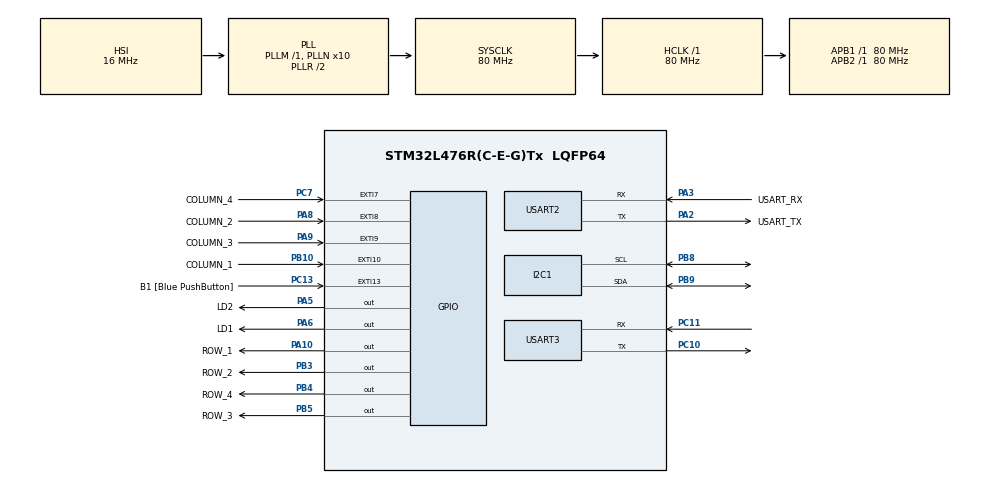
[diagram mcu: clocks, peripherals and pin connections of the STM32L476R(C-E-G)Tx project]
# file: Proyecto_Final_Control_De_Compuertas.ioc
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I2C1.Timing=0x10D19CE4
Mcu.Family=STM32L4
Mcu.Name=STM32L476R(C-E-G)Tx
Mcu.Package=LQFP64
NVIC.EXTI15_10_IRQn=true\:0\:0\:false\:false\:true\:true\:true\:true
NVIC.EXTI9_5_IRQn=true\:0\:0\:false\:false\:true\:true\:true\:true
NVIC.PriorityGroup=NVIC_PRIORITYGROUP_4
NVIC.USART2_IRQn=true\:0\:0\:false\:false\:true\:true\:true\:true
NVIC.USART3_IRQn=true\:0\:0\:false\:false\:true\:true\:true\:true
PA10.GPIO_Label=ROW_1
PA10.GPIO_ModeDefaultOutputPP=GPIO_MODE_OUTPUT_OD
PA10.GPIO_PuPd=GPIO_NOPULL
PA10.GPIO_Speed=GPIO_SPEED_FREQ_VERY_HIGH
PA10.PinState=GPIO_PIN_RESET
PA10.Signal=GPIO_Output
PA13\ (JTMS-SWDIO).GPIO_Label=TMS
PA13\ (JTMS-SWDIO).Mode=Serial_Wire
PA13\ (JTMS-SWDIO).Signal=SYS_JTMS-SWDIO
PA14\ (JTCK-SWCLK).GPIO_Label=TCK
PA14\ (JTCK-SWCLK).Mode=Serial_Wire
PA14\ (JTCK-SWCLK).Signal=SYS_JTCK-SWCLK
PA2.GPIO_Label=USART_TX
PA2.GPIO_Mode=GPIO_MODE_AF_PP
PA2.GPIO_PuPd=GPIO_NOPULL
PA2.GPIO_Speed=GPIO_SPEED_FREQ_VERY_HIGH
PA2.Mode=Asynchronous
PA2.Signal=USART2_TX
PA3.GPIO_Label=USART_RX
PA3.GPIO_Mode=GPIO_MODE_AF_PP
PA3.GPIO_PuPd=GPIO_NOPULL
PA3.GPIO_Speed=GPIO_SPEED_FREQ_VERY_HIGH
PA3.Mode=Asynchronous
PA3.Signal=USART2_RX
PA5.GPIO_Label=LD2
PA5.GPIO_ModeDefaultOutputPP=GPIO_MODE_OUTPUT_PP
PA5.GPIO_PuPd=GPIO_NOPULL
PA5.GPIO_Speed=GPIO_SPEED_FREQ_LOW
PA5.Signal=GPIO_Output
PA6.GPIO_Label=LD1
PA6.Signal=GPIO_Output
PA8.GPIO_Label=COLUMN_2
PA8.GPIO_ModeDefaultEXTI=GPIO_MODE_IT_FALLING
PA8.GPIO_PuPd=GPIO_PULLUP
PA8.Signal=GPXTI8
PA9.GPIO_Label=COLUMN_3
PA9.GPIO_ModeDefaultEXTI=GPIO_MODE_IT_FALLING
PA9.GPIO_PuPd=GPIO_PULLUP
PA9.Signal=GPXTI9
PB10.GPIO_Label=COLUMN_1
PB10.GPIO_ModeDefaultEXTI=GPIO_MODE_IT_FALLING
PB10.GPIO_PuPd=GPIO_PULLUP
PB10.Signal=GPXTI10
PB3\ (JTDO-TRACESWO).GPIO_Label=ROW_2
PB3\ (JTDO-TRACESWO).GPIO_ModeDefaultOutputPP=GPIO_MODE_OUTPUT_OD
PB3\ (JTDO-TRACESWO).GPIO_PuPd=GPIO_NOPULL
PB3\ (JTDO-TRACESWO).GPIO_Speed=GPIO_SPEED_FREQ_VERY_HIGH
PB3\ (JTDO-TRACESWO).PinState=GPIO_PIN_RESET
PB3\ (JTDO-TRACESWO).Signal=GPIO_Output
PB4\ (NJTRST).GPIO_Label=ROW_4
PB4\ (NJTRST).GPIO_ModeDefaultOutputPP=GPIO_MODE_OUTPUT_OD
PB4\ (NJTRST).GPIO_PuPd=GPIO_NOPULL
PB4\ (NJTRST).GPIO_Speed=GPIO_SPEED_FREQ_VERY_HIGH
PB4\ (NJTRST).PinState=GPIO_PIN_RESET
PB4\ (NJTRST).Signal=GPIO_Output
PB5.GPIO_Label=ROW_3
PB5.GPIO_ModeDefaultOutputPP=GPIO_MODE_OUTPUT_OD
PB5.GPIO_PuPd=GPIO_NOPULL
PB5.GPIO_Speed=GPIO_SPEED_FREQ_VERY_HIGH
PB5.PinState=GPIO_PIN_RESET
PB5.Signal=GPIO_Output
PB8.Mode=I2C
PB8.Signal=I2C1_SCL
PB9.Mode=I2C
PB9.Signal=I2C1_SDA
PC10.Mode=Asynchronous
PC10.Signal=USART3_TX
PC11.Mode=Asynchronous
PC11.Signal=USART3_RX
PC13.GPIO_Label=B1 [Blue PushButton]
PC13.GPIO_ModeDefaultEXTI=GPIO_MODE_IT_FALLING
PC13.GPIO_PuPd=GPIO_NOPULL
PC13.Signal=GPXTI13
PC14-OSC32_IN\ (PC14).Mode=LSE-External-Oscillator
PC14-OSC32_IN\ (PC14).Signal=RCC_OSC32_IN
PC15-OSC32_OUT\ (PC15).Mode=LSE-External-Oscillator
PC15-OSC32_OUT\ (PC15).Signal=RCC_OSC32_OUT
PC7.GPIO_Label=COLUMN_4
PC7.GPIO_ModeDefaultEXTI=GPIO_MODE_IT_FALLING
PC7.GPIO_PuPd=GPIO_PULLUP
PC7.Signal=GPXTI7
PH0-OSC_IN\ (PH0).Signal=RCC_OSC_IN
PH1-OSC_OUT\ (PH1).Signal=RCC_OSC_OUT
ProjectManager.HeapSize=0x200
ProjectManager.StackSize=0x400
ProjectManager.TargetToolchain=CMake
RCC.ADCFreq_Value=64000000
RCC.AHBFreq_Value=80000000
RCC.APB1Freq_Value=80000000
RCC.APB1TimFreq_Value=80000000
RCC.APB2Freq_Value=80000000
RCC.APB2TimFreq_Value=80000000
RCC.CortexFreq_Value=80000000
RCC.HCLKFreq_Value=80000000
RCC.HSE_VALUE=8000000
RCC.HSI_VALUE=16000000
RCC.MSI_VALUE=4000000
RCC.PLLN=10
RCC.PLLSourceVirtual=RCC_PLLSOURCE_HSI
RCC.PREFETCH_ENABLE=1
RCC.SYSCLKFreq_VALUE=80000000
RCC.SYSCLKSource=RCC_SYSCLKSOURCE_PLLCLK
RCC.USBFreq_Value=64000000
RCC.VCOOutputFreq_Value=160000000
USART2.VirtualMode-Asynchronous=VM_ASYNC
USART3.VirtualMode-Asynchronous=VM_ASYNC
board=NUCLEO-L476RG

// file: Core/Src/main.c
/* USER CODE BEGIN Header */
/**
  ******************************************************************************
  * @file           : main.c
  * @brief          : Main program body
  ******************************************************************************
  * @attention
  *
  * Copyright (c) 2025 STMicroelectronics.
  * All rights reserved.
  *
  * This software is licensed under terms that can be found in the LICENSE file
  * in the root directory of this software component.
  * If no LICENSE file comes with this software, it is provided AS-IS.
  *
  ******************************************************************************
  */
/* USER CODE END Header */
#include "main.h"

/* USER CODE BEGIN Includes */
#include <stdio.h>
#include <string.h>
#include <stdbool.h>
#include "keypad.h"
#include "ssd1306.h"
#include "ssd1306_fonts.h"
#include "ring_buffer.h"
#include "button.h"
#include "prints_display.h"
#include "command.h"
#include "display_main.h"
#include "state_machine.h"

/* USER CODE END Includes */

I2C_HandleTypeDef hi2c1;

UART_HandleTypeDef huart2;
UART_HandleTypeDef huart3;

/* USER CODE BEGIN PV */
ring_buffer_t rb_matrix;
ring_buffer_t rb_pc;
ring_buffer_t rb_internet;

uint8_t buffer_matrix[5];  // Buffer de tamaño 10 para almacenar el comando completo
uint8_t buffer_pc[5];
uint8_t buffer_internet[5];

uint32_t key_pressed_tick = 0;
uint16_t column_pressed = 0;
uint8_t b1_press_count = 0;

uint32_t debounce_tick = 0;
bool control_uart2 = false;
bool control_uart3 = false;
uint8_t key;

extern char state[3];
char state[3] = "Cl";

extern volatile uint32_t door_open_time; // Almacena el tiempo en el que se abrió la puerta temporalmente
extern volatile uint8_t temp_open;       // Flag para saber si la puerta está temporalmente abierta

/* USER CODE END PV */

void SystemClock_Config(void);
static void MX_GPIO_Init(void);
static void MX_USART2_UART_Init(void);
static void MX_USART3_UART_Init(void);
static void MX_I2C1_Init(void);

/* USER CODE BEGIN 0 */

int system_events_handler(char *event)
{
  if (strcmp(event, "Op") == 0) {
    return 2;
  }
  else if (strcmp(event, "To") == 0) {
    return 1;
  }
  else if (strcmp(event, "Cl") == 0) {
    return 0;
  }
  return -1; // Return a default value if no condition is met
}

void low_power_sleep_mode(void) {
  HAL_SuspendTick(); // Detener el SysTick para reducir consumo
  HAL_PWR_EnterSLEEPMode(PWR_MAINREGULATOR_ON, PWR_SLEEPENTRY_WFI);
  HAL_ResumeTick(); // Restaurar el SysTick después de salir del Sleep Mode
}

void HAL_GPIO_EXTI_Callback(uint16_t GPIO_Pin) {
  if (GPIO_Pin == B1_Pin) { // Botón
      int press_type = detect_button_press();

      if (press_type == 1) { // Un solo clic
          if (strcmp(state, "Cl") == 0) {
              strcpy(state, "Op");
              HAL_UART_Transmit(&huart2, (uint8_t *)"Puerta Abierta\r\n", 16, 100);
              HAL_GPIO_WritePin(LD2_GPIO_Port, LD2_Pin, GPIO_PIN_SET);
              ssd1306_Fill(Black);
              show_opened();
          } else {
              strcpy(state, "Cl");
              HAL_UART_Transmit(&huart2, (uint8_t *)"Puerta Cerrada\r\n", 16, 100);
              HAL_GPIO_WritePin(LD2_GPIO_Port, LD2_Pin, GPIO_PIN_RESET);
              ssd1306_Fill(Black);
              show_closed();
          }
      } else if (press_type == 2) { // Doble clic
          if (strcmp(state, "To") == 0) {
            return;
          }
          strcpy(state, "To"); // Temporalmente abierta
          HAL_UART_Transmit(&huart2, (uint8_t *)"Puerta Abierta Temporalmente\r\n", 30, 100);
          HAL_GPIO_WritePin(LD2_GPIO_Port, LD2_Pin, GPIO_PIN_SET);
          ssd1306_Fill(Black);
          show_opened();

          // Iniciar temporizador en el loop principal
          initialize_temp();
      }
  }
  else { // Keypad
      column_pressed = GPIO_Pin;
  }
}

void check_door_timeout() {
  if (temp_open && (HAL_GetTick() - door_open_time >= 3000)) { // Espera 3 segundos
      strcpy(state, "Cl");
      HAL_UART_Transmit(&huart2, (uint8_t *)"Puerta Cerrada\r\n", 16, 100);
      HAL_GPIO_WritePin(LD2_GPIO_Port, LD2_Pin, GPIO_PIN_RESET);
      ssd1306_Fill(Black);
      show_closed();
      temp_open = 0; // Reiniciar flag
  }
}

void HAL_UART_RxCpltCallback(UART_HandleTypeDef *huart)
{
  if (huart->Instance == USART2) {
    // HAL_UART_Transmit(&huart3, huart->pRxBuffPtr, huart->RxXferSize, 1000);
    control_uart2 = true;
  }
  else if (huart->Instance == USART3) {
    // HAL_UART_Transmit(&huart2, huart->pRxBuffPtr, huart->RxXferSize, 1000);
    control_uart3 = true;

  }
}

/**
 * @brief  Heartbeat function to blink LED2 every 1 second to indicate the system is running
*/

void heartbeat(void)
{
  static uint32_t last_heartbeat = 0;
  if (HAL_GetTick() - last_heartbeat > 1000)
  {
    last_heartbeat = HAL_GetTick();
    HAL_GPIO_TogglePin(LD1_GPIO_Port, LD1_Pin);
  }
}

int _write(int file, char *ptr, int len)
{
  (void)file;
  HAL_UART_Transmit(&huart2, (uint8_t *)ptr, len, 10);
  HAL_UART_Transmit(&huart3, (uint8_t *)ptr, len, 10);

  return len;
}

/* USER CODE END 0 */

int main(void)
{

  /* MCU Configuration--------------------------------------------------------*/

  /* Reset of all peripherals, Initializes the Flash interface and the Systick. */
  HAL_Init();

  /* Configure the system clock */
  SystemClock_Config();

  /* Initialize all configured peripherals */
  MX_GPIO_Init();
  MX_USART2_UART_Init();
  MX_USART3_UART_Init();
  MX_I2C1_Init();
  /* USER CODE BEGIN 2 */
  setvbuf(stdout, NULL, _IONBF, 0);  // Desactiva el buffer de stdout
  ssd1306_Init();
  ssd1306_Fill(Black);
  ssd1306_UpdateScreen();

  for (unsigned int i = 0; i < sizeof(buffer_matrix); i++) {
    buffer_matrix[i] = '_';
  }

  keypad_init();  // Inicializa el teclado matricial
  HAL_UART_Receive_IT(&huart2, buffer_pc , 5);
  HAL_UART_Receive_IT(&huart3, buffer_internet , 5);

  ring_buffer_init(&rb_matrix, buffer_matrix, 5);  // Inicializa el ring buffer
  ring_buffer_init(&rb_pc, buffer_pc, 5);
  ring_buffer_init(&rb_internet, buffer_internet, 5);
  HAL_UART_Transmit(&huart2, (uint8_t *)"Hello World\r\n", 13, 100);  // Envía el mensaje "Hello World"
  HAL_UART_Transmit_IT(&huart3, (uint8_t *)"Hello World\r\n", 13);  // Envía el mensaje "Hello World"
  ssd1306_WriteString("Door default: Cl", Font_7x10, White);
  ssd1306_UpdateScreen();
  HAL_Delay(1000);
  ssd1306_Fill(Black);
  show_closed();
  /* USER CODE END 2 */

  /* Infinite loop */
  /* USER CODE BEGIN WHILE */
  while (1)
  {
    heartbeat();
    check_door_timeout();
    /* USER CODE END WHILE */

    /* USER CODE BEGIN 3 */
    // Procesa teclas del teclado matricial
    if (column_pressed != 0 && (key_pressed_tick + 5) < HAL_GetTick()) {
      key = keypad_scan(column_pressed);
      column_pressed = 0;
      if (key != 'E') {
          ring_buffer_write(&rb_matrix, key);
          uint8_t size = ring_buffer_size(&rb_matrix);
          printf("Key: %c, Buffer: %s, Size: %d\r\n", key, buffer_matrix, size);
          process_command(&rb_matrix, buffer_matrix, state);
          //system_state_machine(state);

      }
    }

    // Procesa teclas recibidas desde la PC
    if(control_uart2)
    {
      control_uart2 = false;
      ring_buffer_write(&rb_pc, buffer_pc[0]);
      ring_buffer_write(&rb_pc, buffer_pc[1]);
      ring_buffer_write(&rb_pc, buffer_pc[2]);
      ring_buffer_write(&rb_pc, buffer_pc[3]);
      ring_buffer_write(&rb_pc, buffer_pc[4]);
      uint8_t size = ring_buffer_size(&rb_pc);
      printf("Terminal Buffer: %s, Size: %d\r\n",buffer_pc, size);
      process_command(&rb_pc, buffer_pc, state);
      //system_state_machine(state);

    }
    if(control_uart3)
    {
      control_uart3 = false;
      ring_buffer_write(&rb_internet, buffer_internet[0]);
      ring_buffer_write(&rb_internet, buffer_internet[1]);
      ring_buffer_write(&rb_internet, buffer_internet[2]);
      ring_buffer_write(&rb_internet, buffer_internet[3]);
      ring_buffer_write(&rb_internet, buffer_internet[4]);
      uint8_t size = ring_buffer_size(&rb_internet);
      printf("\nInternet Buffer: %s, Size: %d\r\n",buffer_internet, size);
      process_command(&rb_internet, buffer_internet, state);
      //system_state_machine(state);

    }
    system_state_machine(state);
    HAL_UART_Receive_IT(&huart2, buffer_pc , 5);
    HAL_UART_Receive_IT(&huart3, buffer_internet , 5);
    HAL_Delay(100);
  }
  /* USER CODE END 3 */
}

void SystemClock_Config(void)
{
  RCC_OscInitTypeDef RCC_OscInitStruct = {0};
  RCC_ClkInitTypeDef RCC_ClkInitStruct = {0};

  /** Configure the main internal regulator output voltage
  */
  if (HAL_PWREx_ControlVoltageScaling(PWR_REGULATOR_VOLTAGE_SCALE1) != HAL_OK)
  {
    Error_Handler();
  }

  /** Initializes the RCC Oscillators according to the specified parameters
  * in the RCC_OscInitTypeDef structure.
  */
  RCC_OscInitStruct.OscillatorType = RCC_OSCILLATORTYPE_HSI;
  RCC_OscInitStruct.HSIState = RCC_HSI_ON;
  RCC_OscInitStruct.HSICalibrationValue = RCC_HSICALIBRATION_DEFAULT;
  RCC_OscInitStruct.PLL.PLLState = RCC_PLL_ON;
  RCC_OscInitStruct.PLL.PLLSource = RCC_PLLSOURCE_HSI;
  RCC_OscInitStruct.PLL.PLLM = 1;
  RCC_OscInitStruct.PLL.PLLN = 10;
  RCC_OscInitStruct.PLL.PLLP = RCC_PLLP_DIV7;
  RCC_OscInitStruct.PLL.PLLQ = RCC_PLLQ_DIV2;
  RCC_OscInitStruct.PLL.PLLR = RCC_PLLR_DIV2;
  if (HAL_RCC_OscConfig(&RCC_OscInitStruct) != HAL_OK)
  {
    Error_Handler();
  }

  /** Initializes the CPU, AHB and APB buses clocks
  */
  RCC_ClkInitStruct.ClockType = RCC_CLOCKTYPE_HCLK|RCC_CLOCKTYPE_SYSCLK
                              |RCC_CLOCKTYPE_PCLK1|RCC_CLOCKTYPE_PCLK2;
  RCC_ClkInitStruct.SYSCLKSource = RCC_SYSCLKSOURCE_PLLCLK;
  RCC_ClkInitStruct.AHBCLKDivider = RCC_SYSCLK_DIV1;
  RCC_ClkInitStruct.APB1CLKDivider = RCC_HCLK_DIV1;
  RCC_ClkInitStruct.APB2CLKDivider = RCC_HCLK_DIV1;

  if (HAL_RCC_ClockConfig(&RCC_ClkInitStruct, FLASH_LATENCY_4) != HAL_OK)
  {
    Error_Handler();
  }
}

static void MX_I2C1_Init(void)
{

  hi2c1.Instance = I2C1;
  hi2c1.Init.Timing = 0x10D19CE4;
  hi2c1.Init.OwnAddress1 = 0;
  hi2c1.Init.AddressingMode = I2C_ADDRESSINGMODE_7BIT;
  hi2c1.Init.DualAddressMode = I2C_DUALADDRESS_DISABLE;
  hi2c1.Init.OwnAddress2 = 0;
  hi2c1.Init.OwnAddress2Masks = I2C_OA2_NOMASK;
  hi2c1.Init.GeneralCallMode = I2C_GENERALCALL_DISABLE;
  hi2c1.Init.NoStretchMode = I2C_NOSTRETCH_DISABLE;
  if (HAL_I2C_Init(&hi2c1) != HAL_OK)
  {
    Error_Handler();
  }

  /** Configure Analogue filter
  */
  if (HAL_I2CEx_ConfigAnalogFilter(&hi2c1, I2C_ANALOGFILTER_ENABLE) != HAL_OK)
  {
    Error_Handler();
  }

  /** Configure Digital filter
  */
  if (HAL_I2CEx_ConfigDigitalFilter(&hi2c1, 0) != HAL_OK)
  {
    Error_Handler();
  }

}

static void MX_USART2_UART_Init(void)
{

  huart2.Instance = USART2;
  huart2.Init.BaudRate = 115200;
  huart2.Init.WordLength = UART_WORDLENGTH_8B;
  huart2.Init.StopBits = UART_STOPBITS_1;
  huart2.Init.Parity = UART_PARITY_NONE;
  huart2.Init.Mode = UART_MODE_TX_RX;
  huart2.Init.HwFlowCtl = UART_HWCONTROL_NONE;
  huart2.Init.OverSampling = UART_OVERSAMPLING_16;
  huart2.Init.OneBitSampling = UART_ONE_BIT_SAMPLE_DISABLE;
  huart2.AdvancedInit.AdvFeatureInit = UART_ADVFEATURE_NO_INIT;
  if (HAL_UART_Init(&huart2) != HAL_OK)
  {
    Error_Handler();
  }

}

static void MX_USART3_UART_Init(void)
{

  huart3.Instance = USART3;
  huart3.Init.BaudRate = 115200;
  huart3.Init.WordLength = UART_WORDLENGTH_8B;
  huart3.Init.StopBits = UART_STOPBITS_1;
  huart3.Init.Parity = UART_PARITY_NONE;
  huart3.Init.Mode = UART_MODE_TX_RX;
  huart3.Init.HwFlowCtl = UART_HWCONTROL_NONE;
  huart3.Init.OverSampling = UART_OVERSAMPLING_16;
  huart3.Init.OneBitSampling = UART_ONE_BIT_SAMPLE_DISABLE;
  huart3.AdvancedInit.AdvFeatureInit = UART_ADVFEATURE_NO_INIT;
  if (HAL_UART_Init(&huart3) != HAL_OK)
  {
    Error_Handler();
  }

}

static void MX_GPIO_Init(void)
{
  GPIO_InitTypeDef GPIO_InitStruct = {0};

  /* GPIO Ports Clock Enable */
  __HAL_RCC_GPIOC_CLK_ENABLE();
  __HAL_RCC_GPIOH_CLK_ENABLE();
  __HAL_RCC_GPIOA_CLK_ENABLE();
  __HAL_RCC_GPIOB_CLK_ENABLE();

  /*Configure GPIO pin Output Level */
  HAL_GPIO_WritePin(GPIOA, LD2_Pin|LD1_Pin|ROW_1_Pin, GPIO_PIN_RESET);

  /*Configure GPIO pin Output Level */
  HAL_GPIO_WritePin(GPIOB, ROW_2_Pin|ROW_4_Pin|ROW_3_Pin, GPIO_PIN_RESET);

  /*Configure GPIO pin : B1_Pin */
  GPIO_InitStruct.Pin = B1_Pin;
  GPIO_InitStruct.Mode = GPIO_MODE_IT_FALLING;
  GPIO_InitStruct.Pull = GPIO_NOPULL;
  HAL_GPIO_Init(B1_GPIO_Port, &GPIO_InitStruct);

  /*Configure GPIO pins : LD2_Pin LD1_Pin */
  GPIO_InitStruct.Pin = LD2_Pin|LD1_Pin;
  GPIO_InitStruct.Mode = GPIO_MODE_OUTPUT_PP;
  GPIO_InitStruct.Pull = GPIO_NOPULL;
  GPIO_InitStruct.Speed = GPIO_SPEED_FREQ_LOW;
  HAL_GPIO_Init(GPIOA, &GPIO_InitStruct);

  /*Configure GPIO pin : COLUMN_1_Pin */
  GPIO_InitStruct.Pin = COLUMN_1_Pin;
  GPIO_InitStruct.Mode = GPIO_MODE_IT_FALLING;
  GPIO_InitStruct.Pull = GPIO_PULLUP;
  HAL_GPIO_Init(COLUMN_1_GPIO_Port, &GPIO_InitStruct);

  /*Configure GPIO pin : COLUMN_4_Pin */
  GPIO_InitStruct.Pin = COLUMN_4_Pin;
  GPIO_InitStruct.Mode = GPIO_MODE_IT_FALLING;
  GPIO_InitStruct.Pull = GPIO_PULLUP;
  HAL_GPIO_Init(COLUMN_4_GPIO_Port, &GPIO_InitStruct);

  /*Configure GPIO pins : COLUMN_2_Pin COLUMN_3_Pin */
  GPIO_InitStruct.Pin = COLUMN_2_Pin|COLUMN_3_Pin;
  GPIO_InitStruct.Mode = GPIO_MODE_IT_FALLING;
  GPIO_InitStruct.Pull = GPIO_PULLUP;
  HAL_GPIO_Init(GPIOA, &GPIO_InitStruct);

  /*Configure GPIO pin : ROW_1_Pin */
  GPIO_InitStruct.Pin = ROW_1_Pin;
  GPIO_InitStruct.Mode = GPIO_MODE_OUTPUT_OD;
  GPIO_InitStruct.Pull = GPIO_NOPULL;
  GPIO_InitStruct.Speed = GPIO_SPEED_FREQ_VERY_HIGH;
  HAL_GPIO_Init(ROW_1_GPIO_Port, &GPIO_InitStruct);

  /*Configure GPIO pins : ROW_2_Pin ROW_4_Pin ROW_3_Pin */
  GPIO_InitStruct.Pin = ROW_2_Pin|ROW_4_Pin|ROW_3_Pin;
  GPIO_InitStruct.Mode = GPIO_MODE_OUTPUT_OD;
  GPIO_InitStruct.Pull = GPIO_NOPULL;
  GPIO_InitStruct.Speed = GPIO_SPEED_FREQ_VERY_HIGH;
  HAL_GPIO_Init(GPIOB, &GPIO_InitStruct);

  /* EXTI interrupt init*/
  HAL_NVIC_SetPriority(EXTI9_5_IRQn, 0, 0);
  HAL_NVIC_EnableIRQ(EXTI9_5_IRQn);

  HAL_NVIC_SetPriority(EXTI15_10_IRQn, 0, 0);
  HAL_NVIC_EnableIRQ(EXTI15_10_IRQn);

}

void Error_Handler(void)
{
  __disable_irq();
  while (1)
  {
  }
}
